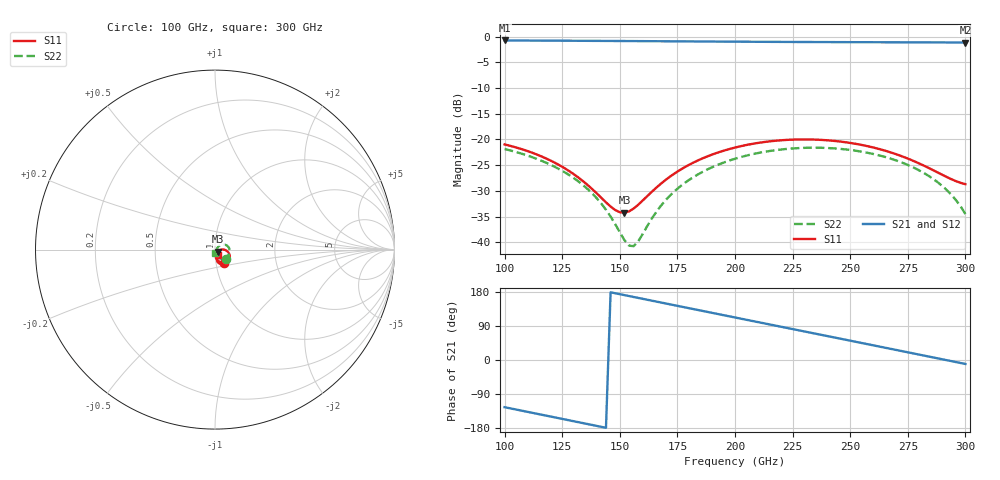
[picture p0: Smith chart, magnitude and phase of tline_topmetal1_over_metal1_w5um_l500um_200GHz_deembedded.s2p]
! Created with skrf 2.0.1 (http://scikit-rf.org).
# GHz S DB R 50.0
!freq dBS11 angS11 dBS21 angS21 dBS12 angS12 dBS22 angS22
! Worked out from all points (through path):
!   101 points, 100 GHz to 300 GHz, reference 50 ohm
!   highest |S21| = -0.72 dB at 100 GHz (marker M1); lowest = -1.1 dB at 300 GHz (marker M2)
!   group delay of S21, straight-line fit = 3.41 ps
!   lowest |S11| = -34.3 dB at 152 GHz (marker M3), VSWR 1.04, Z = 51.5 - j1.22 ohm
!   |S11| at or under -10 dB: start of sweep to end of sweep
!   |S22| runs from -40.8 to -21.6 dB; largest |S21 - S12| = 1.6e-13
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100  -20.96 -58.0  -0.72 -124.6  -0.72 -124.6  -21.86 -43.0
118  -23.69 -73.8  -0.75 -146.8  -0.75 -146.8  -24.52 -57.8
126  -25.58 -78.7  -0.77 -156.7  -0.77 -156.7  -26.36 -63.4
134  -28.10 -80.1  -0.78 -166.5  -0.78 -166.5  -28.87 -67.6
144  -32.24 -68.7  -0.81 -178.9  -0.81 -178.9  -33.68 -66.1
148  -33.73 -55.6  -0.82 176.2  -0.82 176.2  -36.47 -58.9
152  -34.26 -37.6  -0.83 171.3  -0.83 171.3  -39.59 -40.3
154  -34.00 -28.5  -0.83 168.8  -0.83 168.8  -40.67 -24.1
156  -33.44 -20.4  -0.84 166.3  -0.84 166.3  -40.77 -5.2
158  -32.70 -13.8  -0.84 163.9  -0.84 163.9  -39.83 11.6
168  -28.55 0.2  -0.87 151.5  -0.87 151.5  -32.81 40.7
174  -26.55 0.3  -0.88 144.1  -0.88 144.1  -29.98 41.3
182  -24.48 -3.3  -0.91 134.3  -0.91 134.3  -27.31 37.6
200  -21.57 -17.5  -0.95 112.2  -0.95 112.2  -23.75 23.3
216  -20.31 -32.4  -0.99 92.6  -0.99 92.6  -22.18 8.0
234  -20.01 -49.5  -1.02 70.6  -1.02 70.6  -21.60 -10.3
250  -20.67 -63.6  -1.05 51.0  -1.05 51.0  -22.04 -27.2
268  -22.58 -76.2  -1.07 28.9  -1.07 28.9  -23.79 -46.9
278  -24.28 -79.7  -1.08 16.6  -1.08 16.6  -25.57 -58.1
288  -26.43 -77.4  -1.10 4.3  -1.10 4.3  -28.33 -69.6
294  -27.75 -71.4  -1.11 -3.1  -1.11 -3.1  -30.81 -76.7
300  -28.70 -61.1  -1.12 -10.4  -1.12 -10.4  -34.51 -84.3
